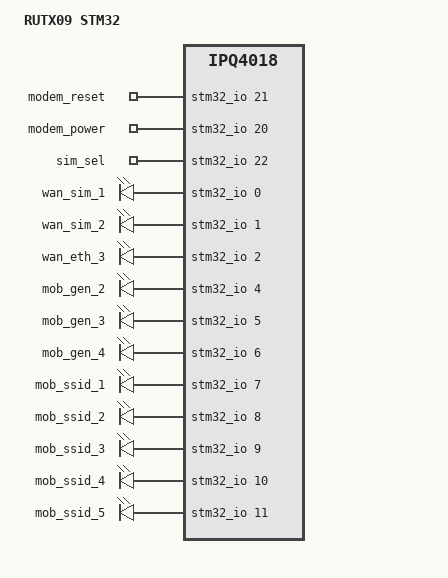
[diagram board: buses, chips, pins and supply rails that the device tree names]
#include "qcom-ipq4018-rutx-STM32.dtsi"

/ {
	model = "RUTX09 STM32";

	soc {
		gpio-export {
			compatible = "gpio-export";
			#size-cells = <0>;

			gpio_modem_reset {
				gpio-export,name = "modem_reset";
				gpio-export,output = <0>;
				gpios = <&stm32_io 21 GPIO_ACTIVE_HIGH>;
			};

			gpio_modem_power {
				gpio-export,name = "modem_power";
				gpio-export,output = <0>;
				gpios = <&stm32_io 20 GPIO_ACTIVE_HIGH>;
			};

			gpio_sim_select {
				gpio-export,name = "sim_sel";
				gpio-export,output = <0>;
				gpios = <&stm32_io 22 GPIO_ACTIVE_HIGH>;
			};
		};

		leds {
			compatible = "gpio-leds";

			led_wan_sim1 {
				label = "wan_sim_1";
				gpios = <&stm32_io 0 GPIO_ACTIVE_HIGH>;
			};

			led_wan_sim2 {
				label = "wan_sim_2";
				gpios = <&stm32_io 1 GPIO_ACTIVE_HIGH>;
			};

			led_wan_eth {
				label = "wan_eth_3";
				gpios = <&stm32_io 2 GPIO_ACTIVE_HIGH>;
			};

			led_gen_2 {
				label = "mob_gen_2";
				gpios = <&stm32_io 4 GPIO_ACTIVE_HIGH>;
			};

			led_gen_3 {
				label = "mob_gen_3";
				gpios = <&stm32_io 5 GPIO_ACTIVE_HIGH>;
			};

			led_gen_4 {
				label = "mob_gen_4";
				gpios = <&stm32_io 6 GPIO_ACTIVE_HIGH>;
			};

			led_ssid_1 {
				label = "mob_ssid_1";
				gpios = <&stm32_io 7 GPIO_ACTIVE_HIGH>;
				linux,default-trigger = "timer";
			};

			led_ssid_2 {
				label = "mob_ssid_2";
				gpios = <&stm32_io 8 GPIO_ACTIVE_HIGH>;
				linux,default-trigger = "timer";
			};

			led_ssid_3 {
				label = "mob_ssid_3";
				gpios = <&stm32_io 9 GPIO_ACTIVE_HIGH>;
				linux,default-trigger = "timer";
			};

			led_ssid_4 {
				label = "mob_ssid_4";
				gpios = <&stm32_io 10 GPIO_ACTIVE_HIGH>;
				linux,default-trigger = "timer";
			};

			led_ssid_5 {
				label = "mob_ssid_5";
				gpios = <&stm32_io 11 GPIO_ACTIVE_HIGH>;
				linux,default-trigger = "timer";
			};
		};

		wifi@a000000 {
			status = "disabled";
		};

		wifi@a800000 {
			status = "disabled";
		};
	};

	tlt_gpios { // Modify according to wiki page "DTS syntax with Libgpiod changes"
		gpiochip_info {
			hw_0 {
				hwver = <0>;
				gpiochip_count = <2>;

				gpiochip_0 = <100>; // Built-in
				gpiochip_1 = <37>;  // STM32 expander
			};
		};

		ioman {
			GPIO_123 {
				compatible_versions = <0 8>;
				line_name = "GPIO_OUT_1";
			};
			GPIO_124 {
				compatible_versions = <0 8>;
				line_name = "GPIO_IN_1";
				active_low;
			};
		};

		misc {
			GPIO_120 {
				compatible_versions = <0 8>;
				line_name = "GPIO_MODEM_POWER_1";
			};
			GPIO_121 {
				compatible_versions = <0 8>;
				line_name = "GPIO_MODEM_RESET_1";
			};
			GPIO_122 {
				compatible_versions = <0 8>;
				line_name = "GPIO_SIM_SELECT";
			};
		};
	};
};

&mnfinfo {
	sim_cfg {
		default = "2111000_2112000";
	};
};
